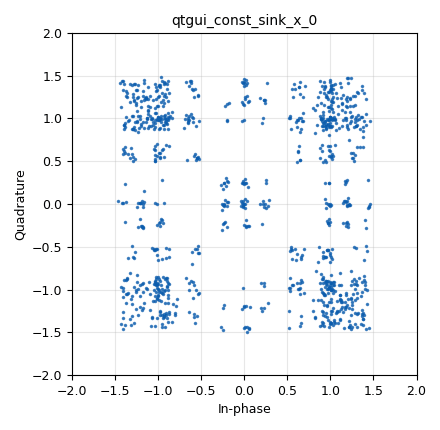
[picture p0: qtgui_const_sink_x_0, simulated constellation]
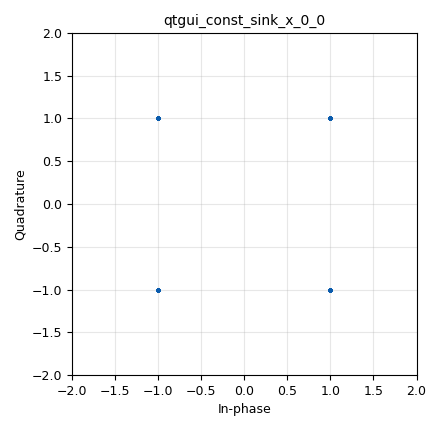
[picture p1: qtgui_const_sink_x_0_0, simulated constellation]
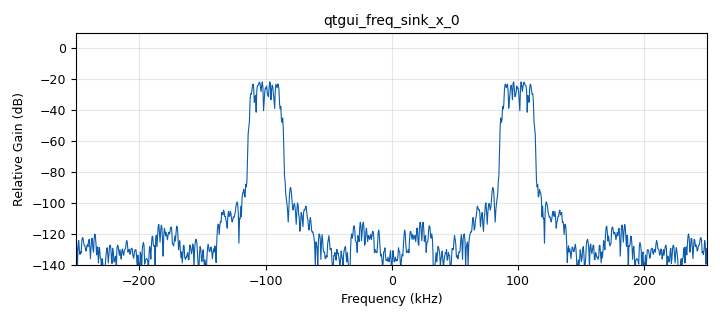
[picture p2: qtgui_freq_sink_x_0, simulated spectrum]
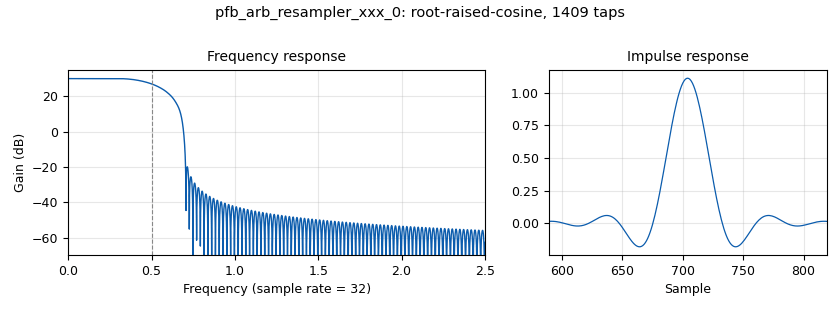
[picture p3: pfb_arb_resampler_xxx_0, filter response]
options:
  parameters:
    generate_options: qt_gui
    id: top_block
    output_language: python
  states: {}

blocks:
- name: const_points
  id: variable
  parameters:
    value: '4'
  states: {}
- name: excess_bw
  id: variable
  parameters:
    value: '0.4'
  states: {}
- name: nfilts
  id: variable
  parameters:
    value: '32'
  states: {}
- name: ntaps
  id: variable
  parameters:
    value: 11*nfilts*sps
  states: {}
- name: sps
  id: variable
  parameters:
    value: '4'
  states: {}
- name: symbol_rate
  id: variable
  parameters:
    value: '20000'
  states: {}
- name: tx_taps
  id: variable
  parameters:
    value: firdes.root_raised_cosine(nfilts,nfilts,1.0,excess_bw,ntaps)
  states: {}
- name: analog_random_source_x_0
  id: analog_random_source_x
  parameters:
    max: const_points
    min: '0'
    num_samps: symbol_rate
    repeat: 'True'
    type: byte
  states: {}
- name: analog_sig_source_x_0
  id: analog_sig_source_x
  parameters:
    amp: '1'
    freq: '100000'
    offset: '0'
    phase: '0'
    samp_rate: 500e3
    type: complex
    waveform: analog.GR_COS_WAVE
  states: {}
- name: blocks_complex_to_real_0
  id: blocks_complex_to_real
  parameters: {}
  states: {}
- name: blocks_file_sink_0
  id: blocks_file_sink
  parameters:
    file: /home/sravi/Desktop/gnu comm lab/lab6/passband.bin
    type: float
  states: {state: disabled}
- name: blocks_multiply_xx_0
  id: blocks_multiply_xx
  parameters:
    type: complex
  states: {}
- name: digital
  id: import
  parameters:
    imports: from gnuradio import digital
  states: {}
- name: digital_chunks_to_symbols_xx_0
  id: digital_chunks_to_symbols_xx
  parameters:
    dimension: '1'
    in_type: byte
    out_type: complex
    symbol_table: (1-1j,1+1j,-1+1j,-1-1j)
  states: {}
- name: filt
  id: import
  parameters:
    imports: from gnuradio import filter
  states: {}
- name: pfb_arb_resampler_xxx_0
  id: pfb_arb_resampler_xxx
  parameters:
    atten: '100'
    nfilts: '32'
    rrate: sps
    taps: tx_taps
    type: ccf
  states: {}
- name: pi
  id: import
  parameters:
    imports: from math import pi
  states: {}
- name: qtgui_const_sink_x_0
  id: qtgui_const_sink_x
  parameters:
    size: '1024'
    type: complex
  states: {}
- name: qtgui_const_sink_x_0_0
  id: qtgui_const_sink_x
  parameters:
    size: '1024'
    type: complex
  states: {}
- name: qtgui_freq_sink_x_0
  id: qtgui_freq_sink_x
  parameters:
    bw: 500e3
    fc: '0'
    fftsize: '1024'
    showports: 'True'
    type: float
    wintype: firdes.WIN_BLACKMAN_hARRIS
  states: {}
- name: rational_resampler_xxx_0
  id: rational_resampler_xxx
  parameters:
    decim: symbol_rate*sps
    interp: '500000'
    taps: ''
    type: ccc
  states: {}
- name: samp_rate
  id: note
  parameters:
    note: 20k
  states: {}
- name: samp_rate_0
  id: note
  parameters:
    note: 20k*sps = 80k
  states: {}
- name: samp_rate_1
  id: note
  parameters:
    note: 500k
  states: {}

connections:
- [analog_random_source_x_0, '0', digital_chunks_to_symbols_xx_0, '0']
- [analog_sig_source_x_0, '0', blocks_multiply_xx_0, '1']
- [blocks_complex_to_real_0, '0', blocks_file_sink_0, '0']
- [blocks_complex_to_real_0, '0', qtgui_freq_sink_x_0, '0']
- [blocks_multiply_xx_0, '0', blocks_complex_to_real_0, '0']
- [digital_chunks_to_symbols_xx_0, '0', pfb_arb_resampler_xxx_0, '0']
- [digital_chunks_to_symbols_xx_0, '0', qtgui_const_sink_x_0_0, '0']
- [pfb_arb_resampler_xxx_0, '0', qtgui_const_sink_x_0, '0']
- [pfb_arb_resampler_xxx_0, '0', rational_resampler_xxx_0, '0']
- [rational_resampler_xxx_0, '0', blocks_multiply_xx_0, '0']

metadata:
  file_format: 1
